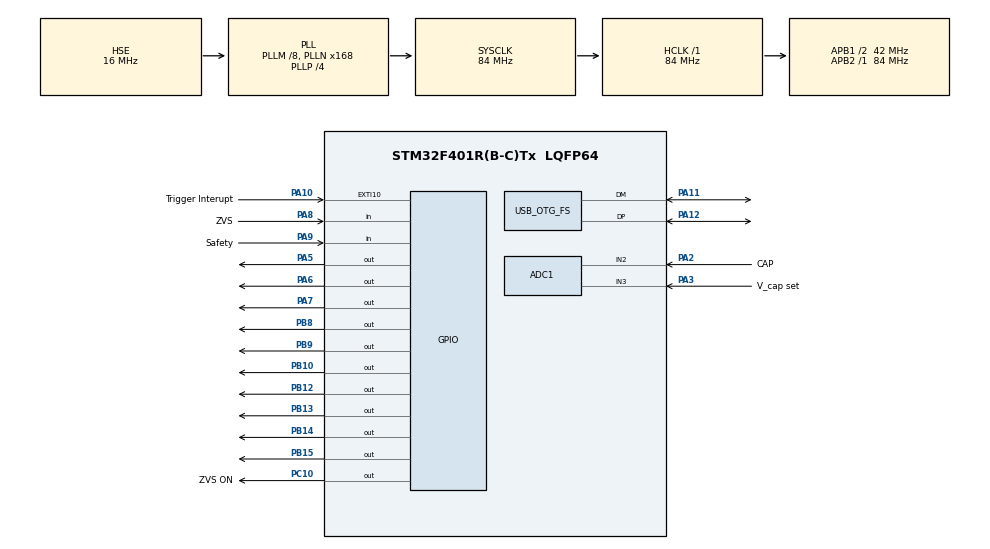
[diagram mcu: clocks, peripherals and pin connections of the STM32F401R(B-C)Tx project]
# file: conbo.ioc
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ADC1.Channel-0\#ChannelRegularConversion=ADC_CHANNEL_2
ADC1.Channel-1\#ChannelRegularConversion=ADC_CHANNEL_3
ADC1.ContinuousConvMode=ENABLE
ADC1.NbrOfConversion=2
ADC1.NbrOfConversionFlag=1
ADC1.Rank-0\#ChannelRegularConversion=1
ADC1.Rank-1\#ChannelRegularConversion=2
ADC1.SamplingTime-0\#ChannelRegularConversion=ADC_SAMPLETIME_3CYCLES
ADC1.SamplingTime-1\#ChannelRegularConversion=ADC_SAMPLETIME_3CYCLES
ADC1.ScanConvMode=ENABLE
ADC1.master=1
Dma.ADC1.0.Direction=DMA_PERIPH_TO_MEMORY
Dma.ADC1.0.FIFOMode=DMA_FIFOMODE_DISABLE
Dma.ADC1.0.Instance=DMA2_Stream0
Dma.ADC1.0.MemDataAlignment=DMA_MDATAALIGN_WORD
Dma.ADC1.0.MemInc=DMA_MINC_ENABLE
Dma.ADC1.0.Mode=DMA_CIRCULAR
Dma.ADC1.0.PeriphDataAlignment=DMA_PDATAALIGN_WORD
Dma.ADC1.0.PeriphInc=DMA_PINC_DISABLE
Dma.ADC1.0.Priority=DMA_PRIORITY_LOW
Dma.Request0=ADC1
FREERTOS.Mutexes01=LEDs,Dynamic,NULL
FREERTOS.Queues01=ZVStoVcap,1,uint32_t,0,Dynamic,NULL,NULL;ISRtoProcessADC,2,uint32_t,0,Dynamic,NULL,NULL;ProcessADCtoLED,1,uint32_t,0,Dynamic,NULL,NULL;FiringData,2,uint32_t,0,Dynamic,NULL,NULL
FREERTOS.Tasks01=USB_Listen,32,128,USB_Listen_Start,Default,NULL,Dynamic,NULL,NULL;CheckZVS,24,128,StartCheckZVS,Default,NULL,Dynamic,NULL,NULL;LEDStandby,24,128,StartLEDStandby,Default,NULL,Dynamic,NULL,NULL;SelfTest,32,128,StartSelfTest,Default,NULL,Dynamic,NULL,NULL;ProcessADC,40,256,StartProcessADC,Default,NULL,Dynamic,NULL,NULL;LED_Control,37,128,StartLED_Control,Default,NULL,Dynamic,NULL,NULL;FiringSeq,40,128,StartFiringSeq,Default,NULL,Dynamic,NULL,NULL
Mcu.Family=STM32F4
Mcu.Name=STM32F401R(B-C)Tx
Mcu.Package=LQFP64
NVIC.DMA2_Stream0_IRQn=true\:5\:0\:false\:false\:true\:true\:false\:true\:true
NVIC.EXTI15_10_IRQn=true\:5\:0\:false\:false\:true\:true\:true\:true\:true
NVIC.OTG_FS_IRQn=true\:5\:0\:false\:false\:true\:true\:false\:true\:true
NVIC.PriorityGroup=NVIC_PRIORITYGROUP_4
NVIC.TIM1_UP_TIM10_IRQn=true\:5\:0\:false\:false\:true\:true\:true\:true\:true
NVIC.TIM2_IRQn=true\:15\:0\:false\:false\:true\:false\:false\:true\:true
NVIC.TIM4_IRQn=true\:5\:0\:false\:false\:true\:true\:true\:true\:true
NVIC.TimeBase=TIM2_IRQn
NVIC.TimeBaseIP=TIM2
PA10.GPIO_Label=Trigger Interupt
PA10.GPIO_ModeDefaultEXTI=GPIO_MODE_IT_FALLING
PA10.Signal=GPXTI10
PA11.Mode=Device_Only
PA11.Signal=USB_OTG_FS_DM
PA12.Mode=Device_Only
PA12.Signal=USB_OTG_FS_DP
PA13.Mode=Trace_Asynchronous_SW
PA13.Signal=SYS_JTMS-SWDIO
PA14.Mode=Trace_Asynchronous_SW
PA14.Signal=SYS_JTCK-SWCLK
PA2.GPIO_Label=CAP
PA2.Signal=ADCx_IN2
PA3.GPIO_Label=V_cap set
PA3.Signal=ADCx_IN3
PA5.Signal=GPIO_Output
PA6.Signal=GPIO_Output
PA7.Signal=GPIO_Output
PA8.GPIO_Label=ZVS
PA8.Signal=GPIO_Input
PA9.GPIO_Label=Safety
PA9.Signal=GPIO_Input
PB10.Signal=GPIO_Output
PB12.Signal=GPIO_Output
PB13.Signal=GPIO_Output
PB14.Signal=GPIO_Output
PB15.Signal=GPIO_Output
PB3.Mode=Trace_Asynchronous_SW
PB3.Signal=SYS_JTDO-SWO
PB8.Signal=GPIO_Output
PB9.Signal=GPIO_Output
PC10.GPIO_Label=ZVS ON
PC10.Signal=GPIO_Output
PH0\ -\ OSC_IN.Mode=HSE-External-Oscillator
PH0\ -\ OSC_IN.Signal=RCC_OSC_IN
PH1\ -\ OSC_OUT.Mode=HSE-External-Oscillator
PH1\ -\ OSC_OUT.Signal=RCC_OSC_OUT
ProjectManager.HeapSize=0x200
ProjectManager.StackSize=0x400
ProjectManager.TargetToolchain=STM32CubeIDE
RCC.48MHZClocksFreq_Value=48000000
RCC.AHBFreq_Value=84000000
RCC.APB1CLKDivider=RCC_HCLK_DIV2
RCC.APB1Freq_Value=42000000
RCC.APB1TimFreq_Value=84000000
RCC.APB2Freq_Value=84000000
RCC.APB2TimFreq_Value=84000000
RCC.CortexFreq_Value=84000000
RCC.HCLKFreq_Value=84000000
RCC.HSE_VALUE=16000000
RCC.HSI_VALUE=16000000
RCC.LSE_VALUE=32768
RCC.PLLM=8
RCC.PLLN=168
RCC.PLLP=RCC_PLLP_DIV4
RCC.PLLQ=7
RCC.SYSCLKFreq_VALUE=84000000
RCC.SYSCLKSource=RCC_SYSCLKSOURCE_PLLCLK
RCC.VCOOutputFreq_Value=336000000
SH.ADCx_IN2.0=ADC1_IN2,IN2
SH.ADCx_IN3.0=ADC1_IN3,IN3
TIM10.Period=200-1
TIM10.Prescaler=42000-1
TIM3.Period=0xffff-1
TIM3.Prescaler=84-1
TIM4.Channel-PWM\ Generation1\ No\ Output=TIM_CHANNEL_1
TIM4.Period=4-1
TIM4.Prescaler=42000-1
USB_DEVICE.CLASS_NAME_FS=CDC
USB_DEVICE.VirtualMode=Cdc
USB_DEVICE.VirtualModeFS=Cdc_FS
USB_OTG_FS.VirtualMode=Device_Only
VP_FREERTOS_VS_CMSIS_V2.Mode=CMSIS_V2
VP_SYS_VS_tim2.Mode=TIM2
VP_TIM10_VS_ClockSourceINT.Mode=Enable_Timer
VP_TIM3_VS_ClockSourceINT.Mode=Internal
VP_TIM4_VS_ClockSourceINT.Mode=Internal
VP_TIM4_VS_no_output1.Mode=PWM Generation1 No Output
VP_USB_DEVICE_VS_USB_DEVICE_CDC_FS.Mode=CDC_FS
board=custom

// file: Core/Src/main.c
/* USER CODE BEGIN Header */
/**
  ******************************************************************************
  * @file           : main.c
  * @brief          : Main program body
  ******************************************************************************
  * @attention
  *
  * Copyright (c) 2023 STMicroelectronics.
  * All rights reserved.
  *
  * This software is licensed under terms that can be found in the LICENSE file
  * in the root directory of this software component.
  * If no LICENSE file comes with this software, it is provided AS-IS.
  *
  ******************************************************************************
  */
/* USER CODE END Header */
#include "main.h"
#include "cmsis_os.h"
#include "usb_device.h"

/* USER CODE BEGIN Includes */
#include "usbd_cdc_if.h"
#include "usbd_core.h"
#include "string.h"
#include "queue.h"
#include "semphr.h"
/* USER CODE END Includes */

ADC_HandleTypeDef hadc1;
DMA_HandleTypeDef hdma_adc1;

TIM_HandleTypeDef htim3;
TIM_HandleTypeDef htim4;
TIM_HandleTypeDef htim10;

/* Definitions for USB_Listen */
osThreadId_t USB_ListenHandle;
const osThreadAttr_t USB_Listen_attributes = {
  .name = "USB_Listen",
  .stack_size = 128 * 4,
  .priority = (osPriority_t) osPriorityAboveNormal,
};
/* Definitions for CheckZVS */
osThreadId_t CheckZVSHandle;
const osThreadAttr_t CheckZVS_attributes = {
  .name = "CheckZVS",
  .stack_size = 128 * 4,
  .priority = (osPriority_t) osPriorityNormal,
};
/* Definitions for LEDStandby */
osThreadId_t LEDStandbyHandle;
const osThreadAttr_t LEDStandby_attributes = {
  .name = "LEDStandby",
  .stack_size = 128 * 4,
  .priority = (osPriority_t) osPriorityNormal,
};
/* Definitions for SelfTest */
osThreadId_t SelfTestHandle;
const osThreadAttr_t SelfTest_attributes = {
  .name = "SelfTest",
  .stack_size = 128 * 4,
  .priority = (osPriority_t) osPriorityAboveNormal,
};
/* Definitions for ProcessADC */
osThreadId_t ProcessADCHandle;
const osThreadAttr_t ProcessADC_attributes = {
  .name = "ProcessADC",
  .stack_size = 256 * 4,
  .priority = (osPriority_t) osPriorityHigh,
};
/* Definitions for LED_Control */
osThreadId_t LED_ControlHandle;
const osThreadAttr_t LED_Control_attributes = {
  .name = "LED_Control",
  .stack_size = 128 * 4,
  .priority = (osPriority_t) osPriorityAboveNormal5,
};
/* Definitions for FiringSeq */
osThreadId_t FiringSeqHandle;
const osThreadAttr_t FiringSeq_attributes = {
  .name = "FiringSeq",
  .stack_size = 128 * 4,
  .priority = (osPriority_t) osPriorityHigh,
};
/* Definitions for ZVStoVcap */
osMessageQueueId_t ZVStoVcapHandle;
const osMessageQueueAttr_t ZVStoVcap_attributes = {
  .name = "ZVStoVcap"
};
/* Definitions for ISRtoProcessADC */
osMessageQueueId_t ISRtoProcessADCHandle;
const osMessageQueueAttr_t ISRtoProcessADC_attributes = {
  .name = "ISRtoProcessADC"
};
/* Definitions for ProcessADCtoLED */
osMessageQueueId_t ProcessADCtoLEDHandle;
const osMessageQueueAttr_t ProcessADCtoLED_attributes = {
  .name = "ProcessADCtoLED"
};
/* Definitions for FiringData */
osMessageQueueId_t FiringDataHandle;
const osMessageQueueAttr_t FiringData_attributes = {
  .name = "FiringData"
};
/* Definitions for LEDs */
osMutexId_t LEDsHandle;
const osMutexAttr_t LEDs_attributes = {
  .name = "LEDs"
};
/* USER CODE BEGIN PV */
extern USBD_HandleTypeDef hUsbDeviceFS;
/* USER CODE END PV */

void SystemClock_Config(void);
static void MX_GPIO_Init(void);
static void MX_DMA_Init(void);
static void MX_TIM3_Init(void);
static void MX_ADC1_Init(void);
static void MX_TIM4_Init(void);
static void MX_TIM10_Init(void);
void USB_Listen_Start(void *argument);
void StartCheckZVS(void *argument);
void StartLEDStandby(void *argument);
void StartSelfTest(void *argument);
void StartProcessADC(void *argument);
void StartLED_Control(void *argument);
void StartFiringSeq(void *argument);

/* USER CODE BEGIN 0 */
char buffer[64];
uint8_t rec_cplt;
uint8_t trig_count=0;
uint32_t ADC_raw[2];
uint16_t c_delay=0;
uint32_t Vcap_prev=0;

#define ERR_OVER_CHRG 1;

void delay(uint16_t dely){

	__HAL_TIM_SET_COUNTER(&htim3,0);
	while(__HAL_TIM_GET_COUNTER(&htim3)<dely);

}

void LED_Reset(void){
	HAL_GPIO_WritePin(GPIOB, GPIO_PIN_8, 0);
	HAL_GPIO_WritePin(GPIOB, GPIO_PIN_9, 0);
	HAL_GPIO_WritePin(GPIOB, GPIO_PIN_15, 0);
	HAL_GPIO_WritePin(GPIOB, GPIO_PIN_14, 0);
	HAL_GPIO_WritePin(GPIOB, GPIO_PIN_13, 0);
	HAL_GPIO_WritePin(GPIOB, GPIO_PIN_12, 0);
	HAL_GPIO_WritePin(GPIOB, GPIO_PIN_10, 0);
}

void LED_Follow(void){
	HAL_GPIO_WritePin(GPIOB, GPIO_PIN_10, 1);
	osDelay(100);
	HAL_GPIO_WritePin(GPIOB, GPIO_PIN_12, 1);
	osDelay(100);
	HAL_GPIO_WritePin(GPIOB, GPIO_PIN_13, 1);
	osDelay(100);
	HAL_GPIO_WritePin(GPIOB, GPIO_PIN_14, 1);
	osDelay(100);
	HAL_GPIO_WritePin(GPIOB, GPIO_PIN_15, 1);
	osDelay(100);
	HAL_GPIO_WritePin(GPIOB, GPIO_PIN_9, 1);
	osDelay(100);
	HAL_GPIO_WritePin(GPIOB, GPIO_PIN_9, 0);
	osDelay(100);
	HAL_GPIO_WritePin(GPIOB, GPIO_PIN_15, 0);
	osDelay(100);
	HAL_GPIO_WritePin(GPIOB, GPIO_PIN_14, 0);
	osDelay(100);
	HAL_GPIO_WritePin(GPIOB, GPIO_PIN_13, 0);
	osDelay(100);
	HAL_GPIO_WritePin(GPIOB, GPIO_PIN_12, 0);
	osDelay(100);
	HAL_GPIO_WritePin(GPIOB, GPIO_PIN_10, 0);
	osDelay(100);
}

void LED_Flash(void){
	HAL_GPIO_WritePin(GPIOB, GPIO_PIN_10, 1);
	HAL_GPIO_WritePin(GPIOB, GPIO_PIN_12, 1);
	HAL_GPIO_WritePin(GPIOB, GPIO_PIN_13, 1);
	HAL_GPIO_WritePin(GPIOB, GPIO_PIN_14, 1);
	HAL_GPIO_WritePin(GPIOB, GPIO_PIN_15, 1);
	HAL_GPIO_WritePin(GPIOB, GPIO_PIN_9, 1);
	HAL_GPIO_WritePin(GPIOB, GPIO_PIN_8, 1);
	osDelay(1000);
	HAL_GPIO_WritePin(GPIOB, GPIO_PIN_8, 0);
	HAL_GPIO_WritePin(GPIOB, GPIO_PIN_9, 0);
	HAL_GPIO_WritePin(GPIOB, GPIO_PIN_15, 0);
	HAL_GPIO_WritePin(GPIOB, GPIO_PIN_14, 0);
	HAL_GPIO_WritePin(GPIOB, GPIO_PIN_13, 0);
	HAL_GPIO_WritePin(GPIOB, GPIO_PIN_12, 0);
	HAL_GPIO_WritePin(GPIOB, GPIO_PIN_10, 0);
	osDelay(1000);

}

void chrg_led_reset(void){

	HAL_GPIO_WritePin(GPIOB, GPIO_PIN_10, 0);
	HAL_GPIO_WritePin(GPIOB, GPIO_PIN_12, 0);
	HAL_GPIO_WritePin(GPIOB, GPIO_PIN_13, 0);
	HAL_GPIO_WritePin(GPIOB, GPIO_PIN_14, 0);
}

void overcharge(void){
	HAL_GPIO_WritePin(GPIOB, GPIO_PIN_14, 1);
	osDelay(100);
	HAL_GPIO_WritePin(GPIOB, GPIO_PIN_14, 0);
	osDelay(100);

}

void led_quick_flash(void){
	HAL_GPIO_WritePin(GPIOB, GPIO_PIN_10, 1);
	HAL_GPIO_WritePin(GPIOB, GPIO_PIN_12, 1);
	HAL_GPIO_WritePin(GPIOB, GPIO_PIN_13, 1);
	HAL_GPIO_WritePin(GPIOB, GPIO_PIN_14, 1);
	HAL_GPIO_WritePin(GPIOB, GPIO_PIN_15, 1);
	HAL_GPIO_WritePin(GPIOB, GPIO_PIN_9, 1);
	osDelay(100);
	HAL_GPIO_WritePin(GPIOB, GPIO_PIN_9, 0);
	HAL_GPIO_WritePin(GPIOB, GPIO_PIN_15, 0);
	HAL_GPIO_WritePin(GPIOB, GPIO_PIN_14, 0);
	HAL_GPIO_WritePin(GPIOB, GPIO_PIN_13, 0);
	HAL_GPIO_WritePin(GPIOB, GPIO_PIN_12, 0);
	HAL_GPIO_WritePin(GPIOB, GPIO_PIN_10, 0);
	osDelay(100);
}

int Charge_val_round(uint32_t ADC_val){
	if(ADC_val<100){
		ADC_val=100;
	}

	if(ADC_val>100 && ADC_val<250){
		ADC_val=250;
	}

	if(ADC_val>250 && ADC_val<385){
		ADC_val=385;
	}

	if(ADC_val>385){
		ADC_val=400;
	}

	return(ADC_val);
}

void HAL_GPIO_EXTI_Callback(uint16_t GPIO_Pin){
	if(trig_count==1){
		return;
	}
	if(GPIO_Pin==GPIO_PIN_10){
		trig_count=1;

	}

}

void HAL_TIM_PWM_PulseFinishedCallback(TIM_HandleTypeDef *htim){
	HAL_ADC_Start_DMA(&hadc1, ADC_raw, 2);
}

void HAL_ADC_ConvCpltCallback(ADC_HandleTypeDef *hadc){
	if(ADC_raw[0]>Vcap_prev){
		Vcap_prev=ADC_raw[0];
	}
	BaseType_t xYieldRequired;
	xQueueSendFromISR(ISRtoProcessADCHandle,&Vcap_prev,NULL);
	xQueueSendFromISR(ISRtoProcessADCHandle,&ADC_raw[1],NULL);
	xYieldRequired = xTaskResumeFromISR(ProcessADCHandle);
	portYIELD_FROM_ISR( xYieldRequired );
}

/* USER CODE END 0 */

int main(void)
{

  /* MCU Configuration--------------------------------------------------------*/

  /* Reset of all peripherals, Initializes the Flash interface and the Systick. */
  HAL_Init();

  /* Configure the system clock */
  SystemClock_Config();

  /* Initialize all configured peripherals */
  MX_GPIO_Init();
  MX_DMA_Init();
  MX_TIM3_Init();
  MX_ADC1_Init();
  MX_TIM4_Init();
  MX_TIM10_Init();
  /* USER CODE BEGIN 2 */
  MX_USB_DEVICE_Init();
  HAL_TIM_Base_Start(&htim3);
  HAL_TIM_PWM_Start_IT(&htim4, TIM_CHANNEL_1);
  TIM4->CCR1=2000-1;
  /* USER CODE END 2 */

  /* Init scheduler */
  osKernelInitialize();
  /* Create the mutex(es) */
  /* creation of LEDs */
  LEDsHandle = osMutexNew(&LEDs_attributes);

  /* USER CODE BEGIN RTOS_MUTEX */
  /* add mutexes, ... */
  xSemaphoreGive(LEDsHandle);
  /* USER CODE END RTOS_MUTEX */

  /* Create the queue(s) */
  /* creation of ZVStoVcap */
  ZVStoVcapHandle = osMessageQueueNew (1, sizeof(uint32_t), &ZVStoVcap_attributes);

  /* creation of ISRtoProcessADC */
  ISRtoProcessADCHandle = osMessageQueueNew (2, sizeof(uint32_t), &ISRtoProcessADC_attributes);

  /* creation of ProcessADCtoLED */
  ProcessADCtoLEDHandle = osMessageQueueNew (1, sizeof(uint32_t), &ProcessADCtoLED_attributes);

  /* creation of FiringData */
  FiringDataHandle = osMessageQueueNew (2, sizeof(uint32_t), &FiringData_attributes);

  /* Create the thread(s) */
  /* creation of USB_Listen */
  USB_ListenHandle = osThreadNew(USB_Listen_Start, NULL, &USB_Listen_attributes);

  /* creation of CheckZVS */
  CheckZVSHandle = osThreadNew(StartCheckZVS, NULL, &CheckZVS_attributes);

  /* creation of LEDStandby */
  LEDStandbyHandle = osThreadNew(StartLEDStandby, NULL, &LEDStandby_attributes);

  /* creation of SelfTest */
  SelfTestHandle = osThreadNew(StartSelfTest, NULL, &SelfTest_attributes);

  /* creation of ProcessADC */
  ProcessADCHandle = osThreadNew(StartProcessADC, NULL, &ProcessADC_attributes);

  /* creation of LED_Control */
  LED_ControlHandle = osThreadNew(StartLED_Control, NULL, &LED_Control_attributes);

  /* creation of FiringSeq */
  FiringSeqHandle = osThreadNew(StartFiringSeq, NULL, &FiringSeq_attributes);

  /* Start scheduler */
  osKernelStart();
  /* We should never get here as control is now taken by the scheduler */
  /* Infinite loop */
  while (1)
  {

  }
}

void SystemClock_Config(void)
{
  RCC_OscInitTypeDef RCC_OscInitStruct = {0};
  RCC_ClkInitTypeDef RCC_ClkInitStruct = {0};

  /** Configure the main internal regulator output voltage
  */
  __HAL_RCC_PWR_CLK_ENABLE();
  __HAL_PWR_VOLTAGESCALING_CONFIG(PWR_REGULATOR_VOLTAGE_SCALE2);

  /** Initializes the RCC Oscillators according to the specified parameters
  * in the RCC_OscInitTypeDef structure.
  */
  RCC_OscInitStruct.OscillatorType = RCC_OSCILLATORTYPE_HSE;
  RCC_OscInitStruct.HSEState = RCC_HSE_ON;
  RCC_OscInitStruct.PLL.PLLState = RCC_PLL_ON;
  RCC_OscInitStruct.PLL.PLLSource = RCC_PLLSOURCE_HSE;
  RCC_OscInitStruct.PLL.PLLM = 8;
  RCC_OscInitStruct.PLL.PLLN = 168;
  RCC_OscInitStruct.PLL.PLLP = RCC_PLLP_DIV4;
  RCC_OscInitStruct.PLL.PLLQ = 7;
  if (HAL_RCC_OscConfig(&RCC_OscInitStruct) != HAL_OK)
  {
    Error_Handler();
  }

  /** Initializes the CPU, AHB and APB buses clocks
  */
  RCC_ClkInitStruct.ClockType = RCC_CLOCKTYPE_HCLK|RCC_CLOCKTYPE_SYSCLK
                              |RCC_CLOCKTYPE_PCLK1|RCC_CLOCKTYPE_PCLK2;
  RCC_ClkInitStruct.SYSCLKSource = RCC_SYSCLKSOURCE_PLLCLK;
  RCC_ClkInitStruct.AHBCLKDivider = RCC_SYSCLK_DIV1;
  RCC_ClkInitStruct.APB1CLKDivider = RCC_HCLK_DIV2;
  RCC_ClkInitStruct.APB2CLKDivider = RCC_HCLK_DIV1;

  if (HAL_RCC_ClockConfig(&RCC_ClkInitStruct, FLASH_LATENCY_2) != HAL_OK)
  {
    Error_Handler();
  }
}

static void MX_ADC1_Init(void)
{

  ADC_ChannelConfTypeDef sConfig = {0};

  /** Configure the global features of the ADC (Clock, Resolution, Data Alignment and number of conversion)
  */
  hadc1.Instance = ADC1;
  hadc1.Init.ClockPrescaler = ADC_CLOCK_SYNC_PCLK_DIV4;
  hadc1.Init.Resolution = ADC_RESOLUTION_12B;
  hadc1.Init.ScanConvMode = ENABLE;
  hadc1.Init.ContinuousConvMode = ENABLE;
  hadc1.Init.DiscontinuousConvMode = DISABLE;
  hadc1.Init.ExternalTrigConvEdge = ADC_EXTERNALTRIGCONVEDGE_NONE;
  hadc1.Init.ExternalTrigConv = ADC_SOFTWARE_START;
  hadc1.Init.DataAlign = ADC_DATAALIGN_RIGHT;
  hadc1.Init.NbrOfConversion = 2;
  hadc1.Init.DMAContinuousRequests = DISABLE;
  hadc1.Init.EOCSelection = ADC_EOC_SINGLE_CONV;
  if (HAL_ADC_Init(&hadc1) != HAL_OK)
  {
    Error_Handler();
  }

  /** Configure for the selected ADC regular channel its corresponding rank in the sequencer and its sample time.
  */
  sConfig.Channel = ADC_CHANNEL_2;
  sConfig.Rank = 1;
  sConfig.SamplingTime = ADC_SAMPLETIME_3CYCLES;
  if (HAL_ADC_ConfigChannel(&hadc1, &sConfig) != HAL_OK)
  {
    Error_Handler();
  }

  /** Configure for the selected ADC regular channel its corresponding rank in the sequencer and its sample time.
  */
  sConfig.Channel = ADC_CHANNEL_3;
  sConfig.Rank = 2;
  if (HAL_ADC_ConfigChannel(&hadc1, &sConfig) != HAL_OK)
  {
    Error_Handler();
  }

}

static void MX_TIM3_Init(void)
{

  TIM_ClockConfigTypeDef sClockSourceConfig = {0};
  TIM_MasterConfigTypeDef sMasterConfig = {0};

  htim3.Instance = TIM3;
  htim3.Init.Prescaler = 84-1;
  htim3.Init.CounterMode = TIM_COUNTERMODE_UP;
  htim3.Init.Period = 0xffff-1;
  htim3.Init.ClockDivision = TIM_CLOCKDIVISION_DIV1;
  htim3.Init.AutoReloadPreload = TIM_AUTORELOAD_PRELOAD_DISABLE;
  if (HAL_TIM_Base_Init(&htim3) != HAL_OK)
  {
    Error_Handler();
  }
  sClockSourceConfig.ClockSource = TIM_CLOCKSOURCE_INTERNAL;
  if (HAL_TIM_ConfigClockSource(&htim3, &sClockSourceConfig) != HAL_OK)
  {
    Error_Handler();
  }
  sMasterConfig.MasterOutputTrigger = TIM_TRGO_RESET;
  sMasterConfig.MasterSlaveMode = TIM_MASTERSLAVEMODE_DISABLE;
  if (HAL_TIMEx_MasterConfigSynchronization(&htim3, &sMasterConfig) != HAL_OK)
  {
    Error_Handler();
  }

}

static void MX_TIM4_Init(void)
{

  TIM_ClockConfigTypeDef sClockSourceConfig = {0};
  TIM_MasterConfigTypeDef sMasterConfig = {0};
  TIM_OC_InitTypeDef sConfigOC = {0};

  htim4.Instance = TIM4;
  htim4.Init.Prescaler = 42000-1;
  htim4.Init.CounterMode = TIM_COUNTERMODE_UP;
  htim4.Init.Period = 4-1;
  htim4.Init.ClockDivision = TIM_CLOCKDIVISION_DIV1;
  htim4.Init.AutoReloadPreload = TIM_AUTORELOAD_PRELOAD_DISABLE;
  if (HAL_TIM_Base_Init(&htim4) != HAL_OK)
  {
    Error_Handler();
  }
  sClockSourceConfig.ClockSource = TIM_CLOCKSOURCE_INTERNAL;
  if (HAL_TIM_ConfigClockSource(&htim4, &sClockSourceConfig) != HAL_OK)
  {
    Error_Handler();
  }
  if (HAL_TIM_PWM_Init(&htim4) != HAL_OK)
  {
    Error_Handler();
  }
  sMasterConfig.MasterOutputTrigger = TIM_TRGO_RESET;
  sMasterConfig.MasterSlaveMode = TIM_MASTERSLAVEMODE_DISABLE;
  if (HAL_TIMEx_MasterConfigSynchronization(&htim4, &sMasterConfig) != HAL_OK)
  {
    Error_Handler();
  }
  sConfigOC.OCMode = TIM_OCMODE_PWM1;
  sConfigOC.Pulse = 0;
  sConfigOC.OCPolarity = TIM_OCPOLARITY_HIGH;
  sConfigOC.OCFastMode = TIM_OCFAST_DISABLE;
  if (HAL_TIM_PWM_ConfigChannel(&htim4, &sConfigOC, TIM_CHANNEL_1) != HAL_OK)
  {
    Error_Handler();
  }

}

static void MX_TIM10_Init(void)
{

  htim10.Instance = TIM10;
  htim10.Init.Prescaler = 42000-1;
  htim10.Init.CounterMode = TIM_COUNTERMODE_UP;
  htim10.Init.Period = 200-1;
  htim10.Init.ClockDivision = TIM_CLOCKDIVISION_DIV1;
  htim10.Init.AutoReloadPreload = TIM_AUTORELOAD_PRELOAD_DISABLE;
  if (HAL_TIM_Base_Init(&htim10) != HAL_OK)
  {
    Error_Handler();
  }

}

static void MX_DMA_Init(void)
{

  /* DMA controller clock enable */
  __HAL_RCC_DMA2_CLK_ENABLE();

  /* DMA interrupt init */
  /* DMA2_Stream0_IRQn interrupt configuration */
  HAL_NVIC_SetPriority(DMA2_Stream0_IRQn, 5, 0);
  HAL_NVIC_EnableIRQ(DMA2_Stream0_IRQn);

}

static void MX_GPIO_Init(void)
{
  GPIO_InitTypeDef GPIO_InitStruct = {0};

  /* GPIO Ports Clock Enable */
  __HAL_RCC_GPIOH_CLK_ENABLE();
  __HAL_RCC_GPIOA_CLK_ENABLE();
  __HAL_RCC_GPIOB_CLK_ENABLE();
  __HAL_RCC_GPIOC_CLK_ENABLE();

  /*Configure GPIO pin Output Level */
  HAL_GPIO_WritePin(GPIOA, GPIO_PIN_5|GPIO_PIN_6|GPIO_PIN_7, GPIO_PIN_RESET);

  /*Configure GPIO pin Output Level */
  HAL_GPIO_WritePin(GPIOB, GPIO_PIN_10|GPIO_PIN_12|GPIO_PIN_13|GPIO_PIN_14
                          |GPIO_PIN_15|GPIO_PIN_8|GPIO_PIN_9, GPIO_PIN_RESET);

  /*Configure GPIO pin Output Level */
  HAL_GPIO_WritePin(ZVS_ON_GPIO_Port, ZVS_ON_Pin, GPIO_PIN_RESET);

  /*Configure GPIO pins : PA5 PA6 PA7 */
  GPIO_InitStruct.Pin = GPIO_PIN_5|GPIO_PIN_6|GPIO_PIN_7;
  GPIO_InitStruct.Mode = GPIO_MODE_OUTPUT_PP;
  GPIO_InitStruct.Pull = GPIO_NOPULL;
  GPIO_InitStruct.Speed = GPIO_SPEED_FREQ_LOW;
  HAL_GPIO_Init(GPIOA, &GPIO_InitStruct);

  /*Configure GPIO pins : PB10 PB12 PB13 PB14
                           PB15 PB8 PB9 */
  GPIO_InitStruct.Pin = GPIO_PIN_10|GPIO_PIN_12|GPIO_PIN_13|GPIO_PIN_14
                          |GPIO_PIN_15|GPIO_PIN_8|GPIO_PIN_9;
  GPIO_InitStruct.Mode = GPIO_MODE_OUTPUT_PP;
  GPIO_InitStruct.Pull = GPIO_NOPULL;
  GPIO_InitStruct.Speed = GPIO_SPEED_FREQ_LOW;
  HAL_GPIO_Init(GPIOB, &GPIO_InitStruct);

  /*Configure GPIO pins : ZVS_Pin Safety_Pin */
  GPIO_InitStruct.Pin = ZVS_Pin|Safety_Pin;
  GPIO_InitStruct.Mode = GPIO_MODE_INPUT;
  GPIO_InitStruct.Pull = GPIO_NOPULL;
  HAL_GPIO_Init(GPIOA, &GPIO_InitStruct);

  /*Configure GPIO pin : Trigger_Interupt_Pin */
  GPIO_InitStruct.Pin = Trigger_Interupt_Pin;
  GPIO_InitStruct.Mode = GPIO_MODE_IT_FALLING;
  GPIO_InitStruct.Pull = GPIO_NOPULL;
  HAL_GPIO_Init(Trigger_Interupt_GPIO_Port, &GPIO_InitStruct);

  /*Configure GPIO pin : ZVS_ON_Pin */
  GPIO_InitStruct.Pin = ZVS_ON_Pin;
  GPIO_InitStruct.Mode = GPIO_MODE_OUTPUT_PP;
  GPIO_InitStruct.Pull = GPIO_NOPULL;
  GPIO_InitStruct.Speed = GPIO_SPEED_FREQ_LOW;
  HAL_GPIO_Init(ZVS_ON_GPIO_Port, &GPIO_InitStruct);

  /* EXTI interrupt init*/
  HAL_NVIC_SetPriority(EXTI15_10_IRQn, 5, 0);
  HAL_NVIC_EnableIRQ(EXTI15_10_IRQn);

}

void USB_Listen_Start(void *argument)
{
  /* init code for USB_DEVICE */
  MX_USB_DEVICE_Init();
  /* USER CODE BEGIN 5 */
  HAL_TIM_Base_Start(&htim3);
  /* Infinite loop */
  for(;;)
  {
	  char mess[64];

	  if(rec_cplt==1){
		  if(strcmp(buffer,"C1")==0){
			  HAL_GPIO_WritePin(GPIOA, GPIO_PIN_7, 1);
			  HAL_GPIO_WritePin(GPIOA, GPIO_PIN_6, 1);
			  HAL_Delay(1000);
			  HAL_GPIO_WritePin(GPIOA, GPIO_PIN_7, 0);
			  HAL_GPIO_WritePin(GPIOA, GPIO_PIN_6, 0);
			  HAL_Delay(1000);
			  rec_cplt=0;
		  }

		  else{
			  c_delay=atoi(buffer);
			  sprintf(mess,"Delay set to %i us",c_delay);
			  CDC_Transmit_FS(mess, strlen(mess));
		  }

	  }
	  vTaskSuspend(NULL);

  }
  /* USER CODE END 5 */
}

void StartCheckZVS(void *argument)
{
  /* USER CODE BEGIN StartCheckZVS */
  /* Infinite loop */
  for(;;)
  {

	 if(trig_count==0){
		 vTaskSuspend(NULL);
	 }
	 if(trig_count==1){

		 if(ulTaskNotifyTake(pdTRUE, 0)==1){

		 }

		 else{
			 if(HAL_GPIO_ReadPin(GPIOA, GPIO_PIN_10)==0){

			 					 osDelay(2000);
			 					 if(HAL_GPIO_ReadPin(GPIOA, GPIO_PIN_10)==0){
			 						HAL_GPIO_WritePin(GPIOA, GPIO_PIN_7, 1);
			 						osDelay(c_delay);
			 						HAL_GPIO_WritePin(GPIOA, GPIO_PIN_6, 1);
			 						osDelay(100);
			 						HAL_GPIO_WritePin(GPIOA, GPIO_PIN_5, 1);
			 						osDelay(10);
			 						HAL_GPIO_WritePin(GPIOA, GPIO_PIN_7, 0);
			 						HAL_GPIO_WritePin(GPIOA, GPIO_PIN_6, 0);
			 						HAL_GPIO_WritePin(GPIOA, GPIO_PIN_5,0);
			 					    vTaskSuspend(NULL); //Resumed in Vcap
			 					 	}

			 			 	}
		 }
		 }

	 }

  /* USER CODE END StartCheckZVS */
}

void StartLEDStandby(void *argument)
{
  /* USER CODE BEGIN StartLEDStandby */
  /* Infinite loop */
  for(;;)
  {

		 LED_Flash();

  }
  /* USER CODE END StartLEDStandby */
}

void StartSelfTest(void *argument)
{
  /* USER CODE BEGIN StartSelfTest */
  /* Infinite loop */
  for(;;)
  {

    if(trig_count==1){
    	vTaskSuspend(LEDStandbyHandle);
    	xSemaphoreTake(LEDsHandle,portMAX_DELAY);
    	LED_Reset();
    	LED_Follow();
    	LED_Follow();
    	LED_Follow();
    	xSemaphoreGive(LEDsHandle);
    	vTaskResume(LED_ControlHandle);
    	vTaskResume(CheckZVSHandle);
    	vTaskResume(FiringSeqHandle);
    	vTaskSuspend(NULL);
    }
    osDelay(1);
  }
  /* USER CODE END StartSelfTest */
}

void StartProcessADC(void *argument)
{
  /* USER CODE BEGIN StartProcessADC */
  /* Infinite loop */
  for(;;)
  {

	if(trig_count==1){
		vTaskResume(LED_ControlHandle);
	}
	uint32_t ADC_vals[2];
	int Vcap;
	int Charge_val;
    xQueueReceive(ISRtoProcessADCHandle, &ADC_vals[0], 0); //Receive Capacitor voltage
    xQueueReceive(ISRtoProcessADCHandle, &ADC_vals[1], 0); //Receive Capacitor voltage
    Vcap=((float)ADC_vals[0]/4095)*729.3;
    Charge_val=((float)ADC_vals[1]/4095)*400*(-1)+400;
    Charge_val=Charge_val_round(Charge_val);

    if(Vcap==Charge_val || Vcap>Charge_val){
    	HAL_GPIO_WritePin(GPIOB, GPIO_PIN_9, 1);
    	vTaskResume(FiringSeqHandle);

    }

    CDC_Transmit_FS(&Vcap, 2);
    osDelay(100);
    xQueueSend(ProcessADCtoLEDHandle,&Charge_val,0);
    vTaskSuspend(NULL);

  }
  /* USER CODE END StartProcessADC */
}

void StartLED_Control(void *argument)
{
  /* USER CODE BEGIN StartLED_Control */
  /* Infinite loop */
  for(;;)
  {
	int Charge_val=0;
	xQueueReceive(ProcessADCtoLEDHandle, &Charge_val, 0);
    if(trig_count==0){
    	vTaskSuspend(NULL);
    }
    xSemaphoreTake(LEDsHandle,portMAX_DELAY); //Take control of LED GPIOs

       	if(Charge_val==100){
       		    HAL_TIM_Base_Stop_IT(&htim10);
       	    	chrg_led_reset();
       	    	HAL_GPIO_WritePin(GPIOB, GPIO_PIN_10, 1);
       	    	vTaskResume(CheckZVSHandle);
       	    }

       	if(Charge_val==250){
       		    HAL_TIM_Base_Stop_IT(&htim10);
       		    chrg_led_reset();
       	    	HAL_GPIO_WritePin(GPIOB, GPIO_PIN_10, 1);
       	    	HAL_GPIO_WritePin(GPIOB, GPIO_PIN_12, 1);
       	    	vTaskResume(CheckZVSHandle);
       	    }

       	if(Charge_val==385){
       		    HAL_TIM_Base_Stop_IT(&htim10);
       		    chrg_led_reset();
       	    	HAL_GPIO_WritePin(GPIOB, GPIO_PIN_10, 1);
       	    	HAL_GPIO_WritePin(GPIOB, GPIO_PIN_12, 1);
       	    	HAL_GPIO_WritePin(GPIOB, GPIO_PIN_13, 1);
       	    	vTaskResume(CheckZVSHandle);
       	    }

       if(Charge_val>385){
       	    	HAL_GPIO_WritePin(GPIOB, GPIO_PIN_10, 1);
       	    	HAL_GPIO_WritePin(GPIOB, GPIO_PIN_12, 1);
       	    	HAL_GPIO_WritePin(GPIOB, GPIO_PIN_13, 1);
       	    	if(HAL_GPIO_ReadPin(GPIOA, GPIO_PIN_10)==0){
       	    		HAL_TIM_Base_Stop_IT(&htim10);
       	    		LED_Reset();
       	    		led_quick_flash();
       	    		led_quick_flash();
       	    		led_quick_flash();
       	    	}
       	    	else{
       	    		HAL_TIM_Base_Start_IT(&htim10);
       	    	}

       	    }
       xSemaphoreGive(LEDsHandle); //Release control of LED GPIOs
       vTaskSuspend(NULL);

  }
  /* USER CODE END StartLED_Control */
}

void StartFiringSeq(void *argument)
{
  /* USER CODE BEGIN StartFiringSeq */
  /* Infinite loop */
  for(;;)
  {
    if(trig_count==0){
    	vTaskSuspend(NULL);
    }

    HAL_GPIO_WritePin(GPIOC, GPIO_PIN_10, 0); //Turn off ZVS

    	HAL_GPIO_WritePin(GPIOB, GPIO_PIN_8, 1);

    	if(HAL_GPIO_ReadPin(GPIOA, GPIO_PIN_10)==0){ //Check Trigger
    	    	HAL_GPIO_WritePin(GPIOA, GPIO_PIN_7, 1);
    	    	delay(c_delay);
    	    	HAL_GPIO_WritePin(GPIOA, GPIO_PIN_6, 1);
    	    	osDelay(100);
    	    	HAL_GPIO_WritePin(GPIOA, GPIO_PIN_5, 1);
    	    	osDelay(10);
    	    	HAL_GPIO_WritePin(GPIOA, GPIO_PIN_7, 0);
    	    	HAL_GPIO_WritePin(GPIOA, GPIO_PIN_6, 0);
    	    	HAL_GPIO_WritePin(GPIOA, GPIO_PIN_5,0);
    	    	Vcap_prev=0;
    	    	osDelay(100);
    	    	HAL_GPIO_WritePin(GPIOB, GPIO_PIN_9, 0);
    	    	HAL_GPIO_WritePin(GPIOB, GPIO_PIN_8, 0);
    	}

    vTaskResume(CheckZVSHandle); //Resume checking of ZVS
    vTaskSuspend(NULL);
  }
  /* USER CODE END StartFiringSeq */
}

void HAL_TIM_PeriodElapsedCallback(TIM_HandleTypeDef *htim)
{
  /* USER CODE BEGIN Callback 0 */
  if(htim->Instance== TIM10){
	  HAL_GPIO_TogglePin(GPIOB, GPIO_PIN_14);
  }
  /* USER CODE END Callback 0 */
  if (htim->Instance == TIM2) {
    HAL_IncTick();
  }
}

void Error_Handler(void)
{
  __disable_irq();
  while (1)
  {
  }
}
